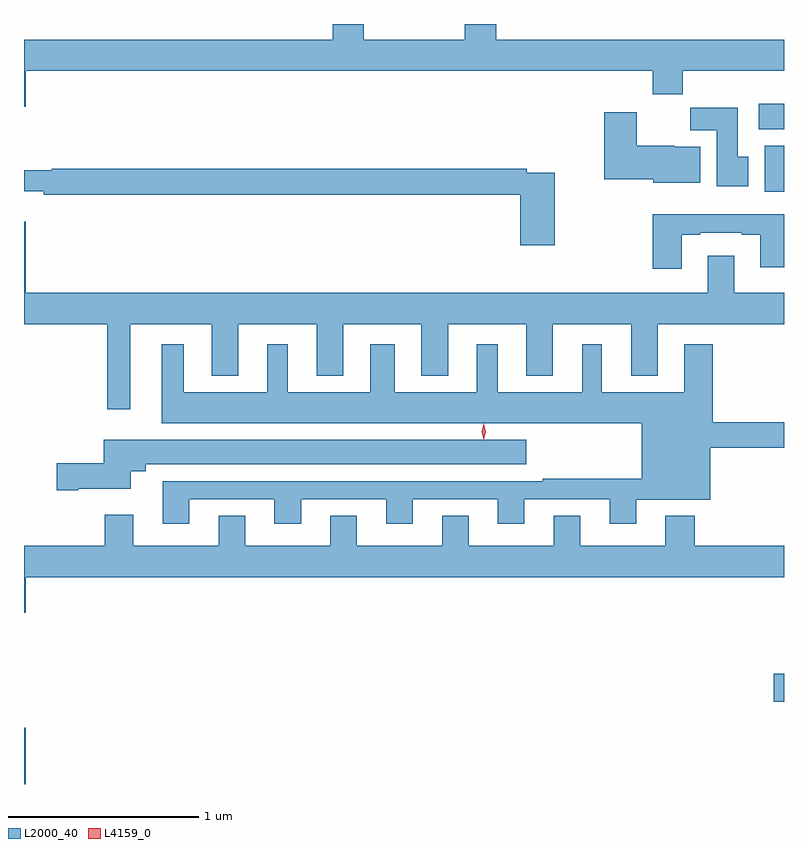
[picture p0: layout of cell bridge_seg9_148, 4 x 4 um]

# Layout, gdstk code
import gdstk
lib = gdstk.Library(unit=1e-6, precision=1e-09)
def R(c, l, rs):  # rectangles x0, y0, x1, y1
    for r in rs: c.add(gdstk.rectangle(r[:2], r[2:], *l))
def P(c, l, *ps):  # polygons
    for p in ps: c.add(gdstk.Polygon(p, *l))
L2000_40 = (2000, 40)
L4159_0 = (4159, 0)

bridge_seg9_148 = lib.new_cell('bridge_seg9_148')
R(bridge_seg9_148, L2000_40, [(572.755,1188.671,572.764,1188.967), (576.702,1189.103,576.755,1189.25), (576.653,1191.788,576.755,1192.03), (576.621,1192.118,576.755,1192.252)])
P(bridge_seg9_148, L2000_40, [(572.764,1192.424),(576.065,1192.424),(576.065,1192.3),(576.221,1192.3),(576.221,1192.424),(576.755,1192.424),(576.755,1192.588),(575.24,1192.588),(575.24,1192.671),(575.075,1192.671),(575.075,1192.588),(574.544,1192.588),(574.544,1192.671),(574.379,1192.671),(574.379,1192.588),(572.755,1192.588),(572.755,1192.236),(572.764,1192.236)],
  [(576.568,1191.972),(576.511,1191.972),(576.511,1192.231),(576.262,1192.231),(576.262,1192.112),(576.401,1192.112),(576.401,1191.816),(576.568,1191.816)],
  [(576.313,1192.024),(576.18,1192.024),(576.18,1192.03),(575.98,1192.03),(575.98,1192.207),(575.81,1192.207),(575.81,1191.854),(576.066,1191.854),(576.066,1191.836),(576.313,1191.836)],
  [(575.549,1191.888),(575.402,1191.888),(575.402,1191.908),(572.902,1191.908),(572.902,1191.901),(572.755,1191.901),(572.755,1191.791),(572.86,1191.791),(572.86,1191.772),(575.366,1191.772),(575.366,1191.507),(575.549,1191.507)],
  [(576.217,1191.561),(576.313,1191.561),(576.313,1191.573),(576.533,1191.573),(576.533,1191.561),(576.629,1191.561),(576.629,1191.392),(576.755,1191.392),(576.755,1191.67),(576.065,1191.67),(576.065,1191.384),(576.217,1191.384)],
  [(573.313,1191.092),(573.743,1191.092),(573.743,1190.819),(573.883,1190.819),(573.883,1191.092),(574.295,1191.092),(574.295,1190.819),(574.435,1190.819),(574.435,1191.092),(574.847,1191.092),(574.847,1190.819),(574.987,1190.819),(574.987,1191.092),(575.399,1191.092),(575.399,1190.819),(575.539,1190.819),(575.539,1191.092),(575.951,1191.092),(575.951,1190.819),(576.091,1190.819),(576.091,1191.092),(576.755,1191.092),(576.755,1191.256),(576.493,1191.256),(576.493,1191.451),(576.353,1191.451),(576.353,1191.256),(572.764,1191.256),(572.764,1191.631),(572.755,1191.631),(572.755,1191.092),(573.192,1191.092),(573.192,1190.643),(573.313,1190.643)],
  [(573.625,1190.169),(574.073,1190.169),(574.073,1190.04),(574.213,1190.04),(574.213,1190.169),(574.661,1190.169),(574.661,1190.04),(574.801,1190.04),(574.801,1190.169),(575.249,1190.169),(575.249,1190.04),(575.389,1190.04),(575.389,1190.169),(575.837,1190.169),(575.837,1190.04),(575.977,1190.04),(575.977,1190.168),(576.367,1190.168),(576.367,1190.44),(576.755,1190.44),(576.755,1190.576),(576.38,1190.576),(576.38,1190.986),(576.23,1190.986),(576.23,1190.734),(575.797,1190.734),(575.797,1190.986),(575.693,1190.986),(575.693,1190.734),(575.248,1190.734),(575.248,1190.986),(575.138,1190.986),(575.138,1190.734),(574.705,1190.734),(574.705,1190.986),(574.577,1190.986),(574.577,1190.734),(574.144,1190.734),(574.144,1190.986),(574.034,1190.986),(574.034,1190.734),(573.595,1190.734),(573.595,1190.986),(573.479,1190.986),(573.479,1190.57),(576.005,1190.57),(576.005,1190.278),(575.485,1190.278),(575.485,1190.265),(573.485,1190.265),(573.485,1190.04),(573.625,1190.04)],
  [(573.04,1190.225),(573.316,1190.225),(573.316,1190.318),(573.397,1190.318),(573.397,1190.354),(575.398,1190.354),(575.398,1190.482),(573.176,1190.482),(573.176,1190.36),(572.928,1190.36),(572.928,1190.218),(573.04,1190.218)],
  [(572.764,1189.76),(576.755,1189.76),(576.755,1189.924),(576.284,1189.924),(576.284,1190.083),(576.131,1190.083),(576.131,1189.924),(575.683,1189.924),(575.683,1190.084),(575.543,1190.084),(575.543,1189.924),(575.095,1189.924),(575.095,1190.084),(574.955,1190.084),(574.955,1189.924),(574.507,1189.924),(574.507,1190.084),(574.367,1190.084),(574.367,1189.924),(573.919,1189.924),(573.919,1190.084),(573.779,1190.084),(573.779,1189.924),(573.331,1189.924),(573.331,1190.089),(573.179,1190.089),(573.179,1189.924),(572.755,1189.924),(572.755,1189.572),(572.764,1189.572)])
P(bridge_seg9_148, L4159_0, [(575.175,1190.484),(575.175,1190.484),(575.165,1190.525),(575.174,1190.566),(575.175,1190.566),(575.175,1190.566),(575.185,1190.525),(575.175,1190.484)])

lib.write_gds('bridge_seg9_148.gds')
